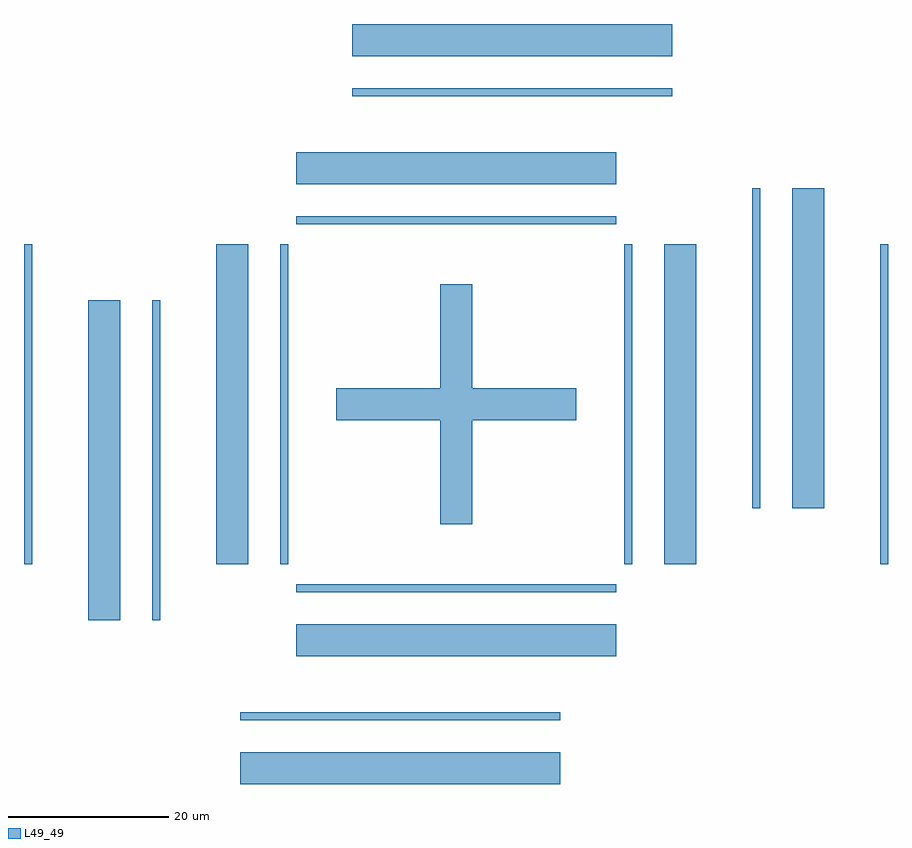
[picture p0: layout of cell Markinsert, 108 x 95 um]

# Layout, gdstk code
import gdstk
lib = gdstk.Library(unit=1e-6, precision=1e-09)
def R(c, l, rs):  # rectangles x0, y0, x1, y1
    for r in rs: c.add(gdstk.rectangle(r[:2], r[2:], *l))
def P(c, l, *ps):  # polygons
    for p in ps: c.add(gdstk.Polygon(p, *l))
L49_49 = (49, 49)

markinsert = lib.new_cell('Markinsert')
R(markinsert, L49_49, [(-27,-47.5,13,-43.5), (-27,-39.5,13,-38.5), (-20,-31.5,20,-27.5), (-46,-27,-42,13), (-38,-27,-37,13), (-20,-23.5,20,-22.5), (-54,-20,-53,20), (-30,-20,-26,20), (-22,-20,-21,20), (21,-20,22,20), (26,-20,30,20), (53,-20,54,20), (37,-13,38,27), (42,-13,46,27), (-20,22.5,20,23.5), (-20,27.5,20,31.5), (-13,38.5,27,39.5), (-13,43.5,27,47.5)])
P(markinsert, L49_49, [(-2,-15),(-2,-2),(-15,-2),(-15,2),(-2,2),(-2,15),(2,15),(2,2),(15,2),(15,-2),(2,-2),(2,-15)])

lib.write_gds('Markinsert.gds')
